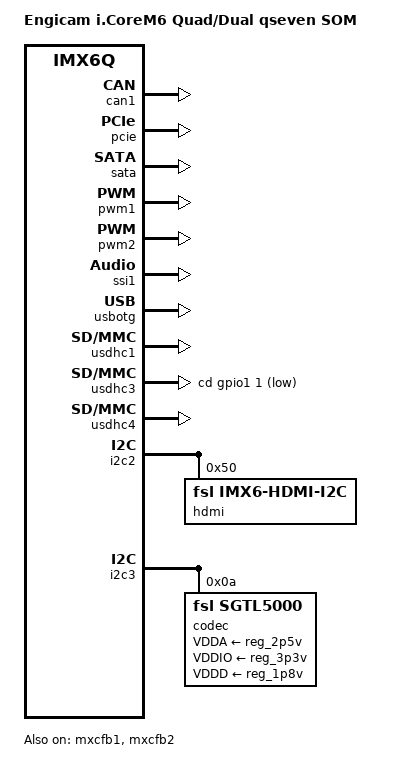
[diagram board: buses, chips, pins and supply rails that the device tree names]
/*
 * Copyright (C) 2013 Freescale Semiconductor, Inc.
 *
 * This program is free software; you can redistribute it and/or modify
 * it under the terms of the GNU General Public License version 2 as
 * published by the Free Software Foundation.
 */

/dts-v1/;

#include "imx6q.dtsi"
#include "imx6qdl-icore-rqs.dtsi"

/ {
	model = "Engicam i.CoreM6 Quad/Dual qseven SOM";
	compatible = "fsl,imx6-icore-rqs", "fsl,imx6q";
	
	aliases {
		mmc1 = &usdhc4;
		mmc0 = &usdhc3;
		mmc2 = &usdhc1;
	};
};

&ldb {
	ipu_id = <0>;
	sec_ipu_id = <0>;
};

&mxcfb1 {
	status = "okay";
};

&mxcfb2 {
	status = "okay";
};

&can1 {
	status = "okay"; 
};

&can2 {
	status = "disabled";
};

&pcie {
	status = "okay";
};

&sata {
        fsl,transmit-level-mV = <1025>;
        fsl,transmit-boost-mdB = <3330>;
        fsl,transmit-atten-16ths = <9>;
        fsl,receive-eq-mdB = <3000>;
        status = "okay";
};

&pwm1 {
	status = "okay";
};

&pwm2 {
	status = "okay";
};

&ssi1 {
	status = "okay";
};

&usbotg {
	status = "okay";
};

&usdhc1 {
	pinctrl-assert-gpios = <&gpio5 0 GPIO_ACTIVE_HIGH>;
	status = "okay";
};

&usdhc3 {
	cd-gpios = <&gpio1 1 GPIO_ACTIVE_LOW>;
	status = "okay";
};


&usdhc4 {
	status = "okay";
};

&i2c2 {
	hdmi: edid@50 {
		compatible = "fsl,imx6-hdmi-i2c";
		reg = <0x50>;
	};
};


&i2c3 {

	codec: sgtl5000@0a {
		compatible = "fsl,sgtl5000";
		reg = <0x0a>;
		clocks = <&clks 201>;
		VDDA-supply = <&reg_2p5v>;
		VDDIO-supply = <&reg_3p3v>;
		VDDD-supply = <&reg_1p8v>;
	};

};

&iomuxc {
	
	hog {
		pinctrl_hog: hoggrp {
			fsl,pins = <
				MX6QDL_PAD_EIM_WAIT__GPIO5_IO00 0x1f059 /*WIFI RESET*/
				MX6QDL_PAD_GPIO_1__GPIO1_IO01  0x1f059 /*CD SD CARD*/
			>;
		};
	};
};


